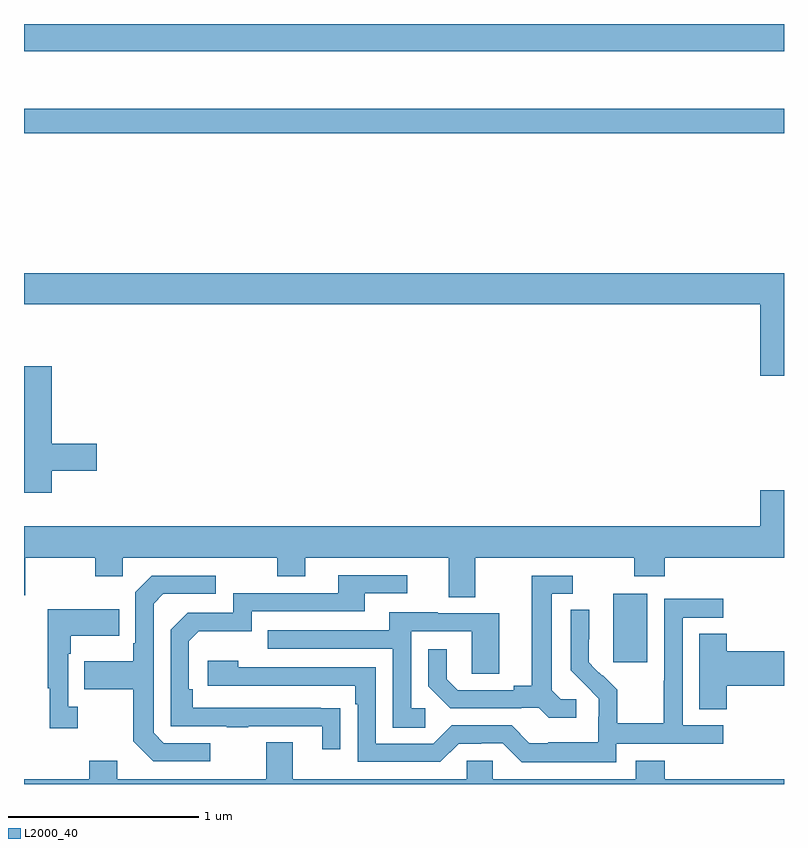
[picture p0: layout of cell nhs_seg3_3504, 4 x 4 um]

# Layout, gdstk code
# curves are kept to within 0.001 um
import gdstk
lib = gdstk.Library(unit=1e-6, precision=1e-09)
def R(c, l, rs):  # rectangles x0, y0, x1, y1
    for r in rs: c.add(gdstk.rectangle(r[:2], r[2:], *l))
def P(c, l, *ps):  # polygons
    for p in ps: c.add(gdstk.Polygon(p, *l))
L2000_40 = (2000, 40)

nhs_seg3_3504 = lib.new_cell('nhs_seg3_3504')
R(nhs_seg3_3504, L2000_40, [(296.102,691.041,296.281,691.402), (293,693.826,297,693.955), (293,694.256,297,694.4)])
P(nhs_seg3_3504, L2000_40, [(297,693.088),(293,693.088),(293,692.924),(296.876,692.924),(296.876,692.55),(297,692.55)],
  [(293.147,692.05),(293.383,692.05),(293.383,692.192),(293.147,692.192),(293.147,692.599),(293,692.599),(293,691.932),(293.147,691.932)],
  [(293,691.393),(293.007,691.393),(293.007,691.592),(293.374,691.592),(293.374,691.493),(293.52,691.493),(293.52,691.592),(294.334,691.592),(294.334,691.493),(294.481,691.493),(294.481,691.592),(295.235,691.592),(295.235,691.384),(295.375,691.384),(295.375,691.592),(296.212,691.592),(296.212,691.493),(296.372,691.493),(296.372,691.592),(297,691.592),(297,691.945),(296.876,691.945),(296.876,691.756),(293,691.756)],
  [(294.665,690.8),(293.888,690.801),(293.888,690.898),(293.868,690.898),(293.868,691.152),(293.921,691.205),(294.198,691.205),(294.198,691.308),(294.793,691.308),(294.793,691.404),(295.018,691.404),(295.018,691.5),(294.653,691.5),(294.653,691.404),(294.102,691.404),(294.102,691.302),(293.862,691.302),(293.772,691.212),(293.772,690.705),(294.067,690.705),(294.067,690.7),(294.179,690.7),(294.179,690.705),(294.569,690.705),(294.569,690.582),(294.665,690.582)],
  [(293.98,690.615),(293.736,690.615),(293.682,690.669),(293.682,691.35),(293.733,691.401),(294.01,691.401),(294.01,691.497),(293.673,691.497),(293.586,691.41),(293.586,691.141),(293.574,691.141),(293.574,691.045),(293.317,691.045),(293.317,690.898),(293.574,690.898),(293.574,690.625),(293.679,690.519),(293.98,690.519)],
  [(295.906,690.846),(295.824,690.846),(295.777,690.893),(295.777,691.401),(295.888,691.401),(295.888,691.497),(295.673,691.497),(295.673,690.917),(295.577,690.917),(295.577,690.894),(295.282,690.894),(295.225,690.951),(295.225,691.108),(295.128,691.108),(295.128,690.914),(295.244,690.798),(295.616,690.798),(295.616,690.801),(295.71,690.801),(295.762,690.749),(295.906,690.749)],
  [(296.118,690.612),(296.68,690.612),(296.68,690.708),(296.466,690.708),(296.466,691.275),(296.68,691.275),(296.68,691.374),(296.37,691.374),(296.37,690.944),(296.368,690.944),(296.368,690.721),(296.123,690.721),(296.123,690.895),(296.046,690.972),(296.043,690.969),(295.973,691.04),(295.974,691.316),(295.878,691.316),(295.878,690.998),(296.024,690.85),(296.024,690.753),(296.022,690.753),(296.022,690.619),(295.759,690.619),(295.759,690.615),(295.659,690.615),(295.566,690.708),(295.251,690.708),(295.155,690.612),(294.852,690.612),(294.852,691.014),(294.128,691.014),(294.128,691.048),(293.967,691.048),(293.967,690.918),(294.743,690.918),(294.743,690.821),(294.756,690.821),(294.756,690.516),(295.191,690.516),(295.287,690.612),(295.406,690.612),(295.406,690.615),(295.521,690.615),(295.621,690.515),(296.118,690.515)],
  [(293.284,690.806),(293.232,690.806),(293.232,691.085),(293.245,691.085),(293.245,691.181),(293.501,691.181),(293.501,691.321),(293.124,691.321),(293.124,690.905),(293.135,690.905),(293.135,690.693),(293.284,690.693)],
  [(295.111,690.798),(295.038,690.798),(295.038,691.203),(295.356,691.203),(295.356,690.979),(295.501,690.979),(295.501,691.299),(295.177,691.299),(295.177,691.303),(294.923,691.303),(294.923,691.209),(294.283,691.209),(294.283,691.113),(294.942,691.113),(294.942,690.697),(295.111,690.697)],
  [(296.699,690.917),(297,690.917),(297,691.1),(296.699,691.1),(296.699,691.19),(296.555,691.19),(296.555,690.793),(296.699,690.793)],
  [(297,690.424),(296.372,690.424),(296.372,690.523),(296.219,690.523),(296.219,690.424),(295.467,690.424),(295.467,690.522),(295.329,690.522),(295.329,690.424),(294.415,690.424),(294.415,690.619),(294.275,690.619),(294.275,690.424),(293.491,690.424),(293.491,690.523),(293.344,690.523),(293.344,690.424),(293,690.424),(293,690.4),(297,690.4)])

lib.write_gds('nhs_seg3_3504.gds')
